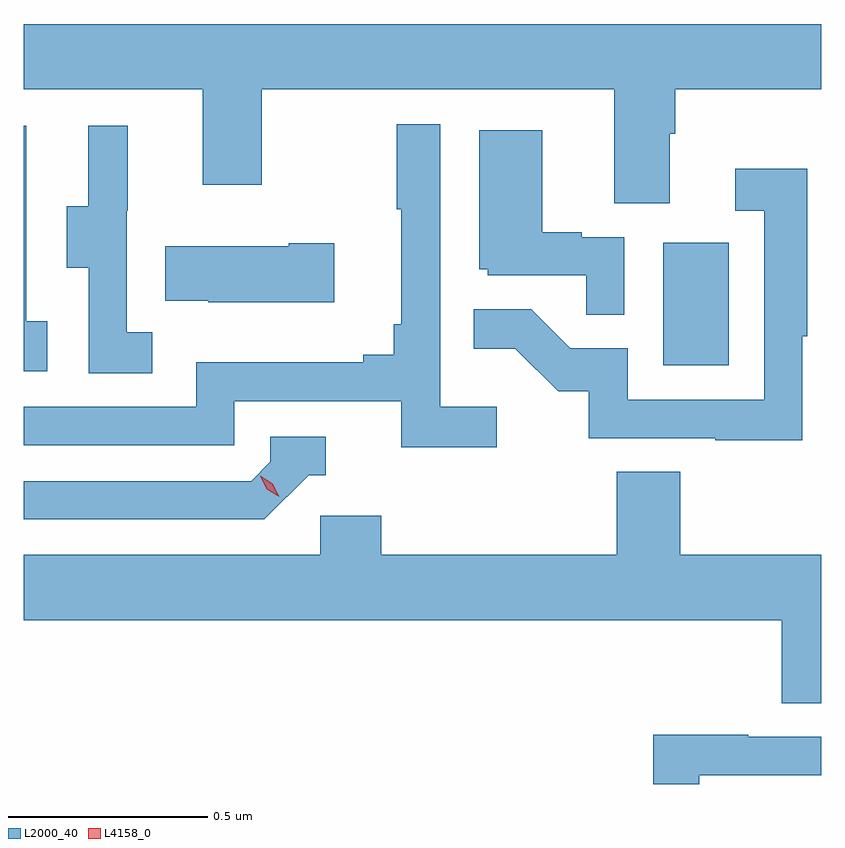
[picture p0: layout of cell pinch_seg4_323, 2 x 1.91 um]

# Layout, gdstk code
import gdstk
lib = gdstk.Library(unit=1e-6, precision=1e-09)
def R(c, l, rs):  # rectangles x0, y0, x1, y1
    for r in rs: c.add(gdstk.rectangle(r[:2], r[2:], *l))
def P(c, l, *ps):  # polygons
    for p in ps: c.add(gdstk.Polygon(p, *l))
L2000_40 = (2000, 40)
L4158_0 = (4158, 0)

pinch_seg4_323 = lib.new_cell('pinch_seg4_323')
R(pinch_seg4_323, L2000_40, [(905.288,802.788,905.452,803.095)])
P(pinch_seg4_323, L2000_40, [(905.305,803.368),(905.318,803.368),(905.318,803.48),(905.684,803.48),(905.684,803.644),(903.684,803.644),(903.684,803.48),(904.133,803.48),(904.133,803.241),(904.281,803.241),(904.281,803.48),(905.165,803.48),(905.165,803.194),(905.305,803.194)],
  [(904.87,802.684),(904.728,802.684),(904.728,803.392),(904.62,803.392),(904.62,803.179),(904.631,803.179),(904.631,802.891),(904.612,802.891),(904.612,802.814),(904.535,802.814),(904.535,802.795),(904.116,802.795),(904.116,802.683),(903.684,802.683),(903.684,802.587),(904.212,802.587),(904.212,802.698),(904.631,802.698),(904.631,802.582),(904.87,802.582)],
  [(904.006,802.871),(903.942,802.871),(903.942,803.175),(903.944,803.175),(903.944,803.389),(903.845,803.389),(903.845,803.187),(903.791,803.187),(903.791,803.032),(903.846,803.032),(903.846,802.768),(904.006,802.768)],
  [(903.742,802.898),(903.69,802.898),(903.69,803.389),(903.684,803.389),(903.684,802.773),(903.742,802.773)],
  [(905.19,803.109),(905.084,803.109),(905.084,803.122),(904.984,803.122),(904.984,803.377),(904.826,803.377),(904.826,803.028),(904.848,803.028),(904.848,803.013),(905.095,803.013),(905.095,802.915),(905.19,802.915)],
  [(905.637,802.861),(905.65,802.861),(905.65,803.281),(905.469,803.281),(905.469,803.175),(905.541,803.175),(905.541,802.701),(905.199,802.701),(905.199,802.83),(905.055,802.83),(904.957,802.928),(904.813,802.928),(904.813,802.829),(904.917,802.829),(905.024,802.722),(905.101,802.722),(905.101,802.605),(905.419,802.605),(905.419,802.6),(905.637,802.6)],
  [(904.462,803.094),(904.349,803.094),(904.349,803.086),(904.039,803.086),(904.039,802.949),(904.147,802.949),(904.147,802.946),(904.462,802.946)],
  [(904.398,802.512),(904.441,802.512),(904.441,802.608),(904.302,802.608),(904.302,802.545),(904.254,802.497),(903.684,802.497),(903.684,802.401),(904.287,802.401)],
  [(905.684,802.312),(905.331,802.312),(905.331,802.52),(905.171,802.52),(905.171,802.312),(904.58,802.312),(904.58,802.41),(904.428,802.41),(904.428,802.312),(903.684,802.312),(903.684,802.148),(905.585,802.148),(905.585,801.94),(905.684,801.94)],
  [(905.379,801.759),(905.684,801.759),(905.684,801.855),(905.501,801.855),(905.501,801.86),(905.263,801.86),(905.263,801.737),(905.379,801.737)])
P(pinch_seg4_323, L4158_0, [(904.324,802.458),(904.293,802.477),(904.277,802.51),(904.277,802.51),(904.277,802.51),(904.308,802.49),(904.324,802.458),(904.324,802.458)])

lib.write_gds('pinch_seg4_323.gds')
